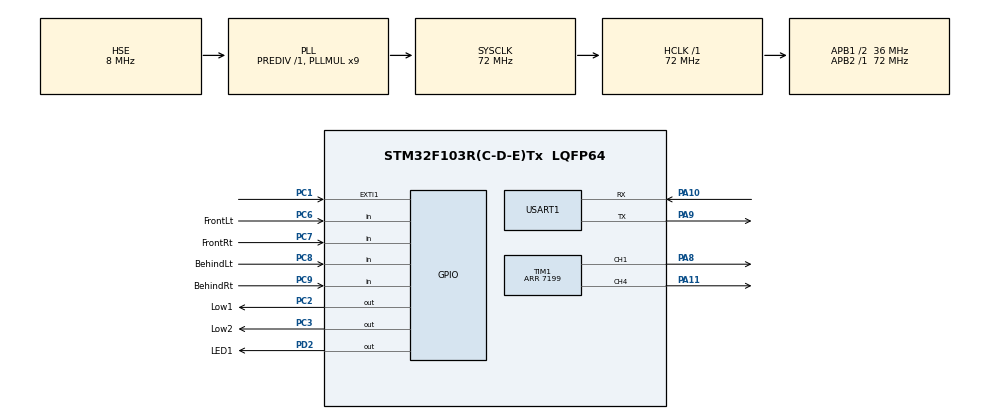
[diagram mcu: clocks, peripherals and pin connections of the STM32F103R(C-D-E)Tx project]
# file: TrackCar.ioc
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Mcu.Family=STM32F1
Mcu.Name=STM32F103R(C-D-E)Tx
Mcu.Package=LQFP64
NVIC.EXTI1_IRQn=true\:1\:0\:true\:false\:true\:true\:true
NVIC.PriorityGroup=NVIC_PRIORITYGROUP_4
NVIC.TIM2_IRQn=true\:0\:0\:true\:false\:true\:true\:true
PA10.Mode=Asynchronous
PA10.Signal=USART1_RX
PA11.Signal=S_TIM1_CH4
PA13.Mode=Serial_Wire
PA13.Signal=SYS_JTMS-SWDIO
PA14.Mode=Serial_Wire
PA14.Signal=SYS_JTCK-SWCLK
PA8.Signal=S_TIM1_CH1
PA9.Mode=Asynchronous
PA9.Signal=USART1_TX
PC1.GPIO_ModeDefaultEXTI=GPIO_MODE_IT_FALLING
PC1.GPIO_PuPd=GPIO_PULLUP
PC1.Signal=GPXTI1
PC2.GPIO_Label=Low1
PC2.PinState=GPIO_PIN_RESET
PC2.Signal=GPIO_Output
PC3.GPIO_Label=Low2
PC3.PinState=GPIO_PIN_RESET
PC3.Signal=GPIO_Output
PC6.GPIO_Label=FrontLt
PC6.GPIO_Mode=GPIO_MODE_INPUT
PC6.Signal=GPIO_Input
PC7.GPIO_Label=FrontRt
PC7.GPIO_Mode=GPIO_MODE_INPUT
PC7.Signal=GPIO_Input
PC8.GPIO_Label=BehindLt
PC8.GPIO_Mode=GPIO_MODE_INPUT
PC8.Signal=GPIO_Input
PC9.GPIO_Label=BehindRt
PC9.GPIO_Mode=GPIO_MODE_INPUT
PC9.Signal=GPIO_Input
PD0-OSC_IN.Mode=HSE-External-Oscillator
PD0-OSC_IN.Signal=RCC_OSC_IN
PD1-OSC_OUT.Mode=HSE-External-Oscillator
PD1-OSC_OUT.Signal=RCC_OSC_OUT
PD2.GPIO_Label=LED1
PD2.GPIO_Speed=GPIO_SPEED_FREQ_HIGH
PD2.PinState=GPIO_PIN_SET
PD2.Signal=GPIO_Output
ProjectManager.HeapSize=0x200
ProjectManager.StackSize=0x400
ProjectManager.TargetToolchain=MDK-ARM V5
RCC.AHBFreq_Value=72000000
RCC.APB1CLKDivider=RCC_HCLK_DIV2
RCC.APB1Freq_Value=36000000
RCC.APB1TimFreq_Value=72000000
RCC.APB2Freq_Value=72000000
RCC.APB2TimFreq_Value=72000000
RCC.HCLKFreq_Value=72000000
RCC.PLLMUL=RCC_PLL_MUL9
RCC.PLLSourceVirtual=RCC_PLLSOURCE_HSE
RCC.SYSCLKFreq_VALUE=72000000
RCC.SYSCLKSource=RCC_SYSCLKSOURCE_PLLCLK
RCC.USBFreq_Value=72000000
SH.S_TIM1_CH1.0=TIM1_CH1,PWM Generation1 CH1
SH.S_TIM1_CH4.0=TIM1_CH4,PWM Generation4 CH4
TIM1.Channel-PWM\ Generation1\ CH1=TIM_CHANNEL_1
TIM1.Channel-PWM\ Generation4\ CH4=TIM_CHANNEL_4
TIM1.Period=7199
TIM2.AutoReloadPreload=TIM_AUTORELOAD_PRELOAD_ENABLE
TIM2.Period=99
TIM2.Prescaler=7199
USART1.VirtualMode=VM_ASYNC
VP_TIM2_VS_ClockSourceINT.Mode=Internal
board=custom

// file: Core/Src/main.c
/* USER CODE BEGIN Header */
/**
  ******************************************************************************
  * @file           : main.c
  * @brief          : Main program body
  ******************************************************************************
  * @attention
  *
  * <h2><center>&copy; Copyright (c) 2021 STMicroelectronics.
  * All rights reserved.</center></h2>
  *
  * This software component is licensed by ST under BSD 3-Clause license,
  * the "License"; You may not use this file except in compliance with the
  * License. You may obtain a copy of the License at:
  *                        opensource.org/licenses/BSD-3-Clause
  *
  ******************************************************************************
  */
/* USER CODE END Header */
#include "main.h"
#include "tim.h"
#include "usart.h"
#include "gpio.h"

/* USER CODE BEGIN Includes */
#include "stdio.h"
#include "control.h"
/* USER CODE END Includes */

/* USER CODE BEGIN PV */
uint16_t Numturn = 0;
/* USER CODE END PV */

void SystemClock_Config(void);

/* USER CODE BEGIN 0 */
int fputc(int ch, FILE *f)
{
	while(!(USART1->SR & (1<<7)));
	USART1->DR = ch;

	return ch;
}
/* USER CODE END 0 */

int main(void)
{

  /* MCU Configuration--------------------------------------------------------*/

  /* Reset of all peripherals, Initializes the Flash interface and the Systick. */
  HAL_Init();

  /* Configure the system clock */
  SystemClock_Config();

  /* Initialize all configured peripherals */
  MX_GPIO_Init();
  MX_TIM1_Init();
  MX_TIM2_Init();
  MX_USART1_UART_Init();
  /* USER CODE BEGIN 2 */
	HAL_TIM_PWM_Start(&htim1, TIM_CHANNEL_1);//TIM_CH1(PWM)
	//HAL_TIM_Encoder_Start(&htim4, TIM_CHANNEL_1);//开启编码器A
	//HAL_TIM_Encoder_Start(&htim4, TIM_CHANNEL_2);//开启编码器B
	HAL_TIM_Base_Start_IT(&htim2);//使能定时器2中断
  /* USER CODE END 2 */

  /* Infinite loop */
  while (1)
  {

  }
}

void SystemClock_Config(void)
{
  RCC_OscInitTypeDef RCC_OscInitStruct = {0};
  RCC_ClkInitTypeDef RCC_ClkInitStruct = {0};

  /** Initializes the RCC Oscillators according to the specified parameters
  * in the RCC_OscInitTypeDef structure.
  */
  RCC_OscInitStruct.OscillatorType = RCC_OSCILLATORTYPE_HSE;
  RCC_OscInitStruct.HSEState = RCC_HSE_ON;
  RCC_OscInitStruct.HSEPredivValue = RCC_HSE_PREDIV_DIV1;
  RCC_OscInitStruct.HSIState = RCC_HSI_ON;
  RCC_OscInitStruct.PLL.PLLState = RCC_PLL_ON;
  RCC_OscInitStruct.PLL.PLLSource = RCC_PLLSOURCE_HSE;
  RCC_OscInitStruct.PLL.PLLMUL = RCC_PLL_MUL9;
  if (HAL_RCC_OscConfig(&RCC_OscInitStruct) != HAL_OK)
  {
    Error_Handler();
  }
  /** Initializes the CPU, AHB and APB buses clocks
  */
  RCC_ClkInitStruct.ClockType = RCC_CLOCKTYPE_HCLK|RCC_CLOCKTYPE_SYSCLK
                              |RCC_CLOCKTYPE_PCLK1|RCC_CLOCKTYPE_PCLK2;
  RCC_ClkInitStruct.SYSCLKSource = RCC_SYSCLKSOURCE_PLLCLK;
  RCC_ClkInitStruct.AHBCLKDivider = RCC_SYSCLK_DIV1;
  RCC_ClkInitStruct.APB1CLKDivider = RCC_HCLK_DIV2;
  RCC_ClkInitStruct.APB2CLKDivider = RCC_HCLK_DIV1;

  if (HAL_RCC_ClockConfig(&RCC_ClkInitStruct, FLASH_LATENCY_2) != HAL_OK)
  {
    Error_Handler();
  }
}

/* USER CODE BEGIN 4 */
void HAL_GPIO_EXTI_Callback(uint16_t GPIO_Pin)
{
	if(GPIO_Pin == GPIO_PIN_1)
	{
		if(HAL_GPIO_ReadPin(GPIOC,GPIO_PIN_1) == 0)
		{
			Numturn ++;
		}
	}
}
void HAL_TIM_PeriodElapsedCallback(TIM_HandleTypeDef *htim)
{
	static unsigned char i = 0;
	if(htim == (&htim2))
	{
		//GetMotorPulse();
		MotorSpeed = Numturn * 100 / 20 * 2 * 0.0028;
		//获取电机速度m/s
		Numturn = 0;
		MotorOutput = SpeedInnerControl(MotorSpeed,SpeedTarget);
		//PID控制器，取回占空比
		SetMotorVoltageAndDirection(MotorOutput);
		//将占空比导入至电机控制函数
		i++;
		if(i>100)
		{
			HAL_GPIO_TogglePin(GPIOD, GPIO_PIN_2);
			//打印定时器4的数值，short(-32768-32767);
			printf("Encoder = %d moto = %d\r\n", MotorSpeed, MotorOutput);
			i = 0;
		}
	}
}
/* USER CODE END 4 */

void Error_Handler(void)
{
  __disable_irq();
  while (1)
  {
  }
}

/************************ (C) COPYRIGHT STMicroelectronics *****END OF FILE****/
